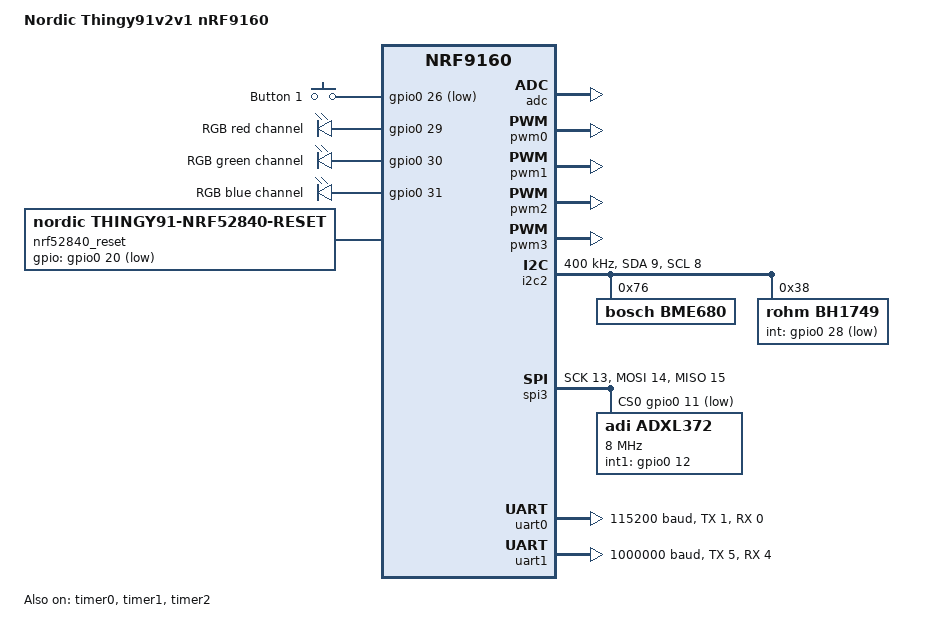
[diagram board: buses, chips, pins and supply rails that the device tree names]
/*
 * Copyright (c) 2019 Nordic Semiconductor ASA
 *
 * SPDX-License-Identifier: LicenseRef-Nordic-5-Clause
 */

/ {
	model = "Nordic Thingy91v2v1 nRF9160";
	compatible = "nordic,thingy91v2v1-nrf9160";

	chosen {
		zephyr,console = &uart0;
		zephyr,shell-uart = &uart0;
		zephyr,uart-mcumgr = &uart0;
	};

	buttons {
		compatible = "gpio-keys";

		button0: button_0 {
			gpios = <&gpio0 26 (GPIO_PULL_UP | GPIO_ACTIVE_LOW)>;
			label = "Button 1";
		};
	};

	leds {
		compatible = "gpio-leds";
		red_led: led_1 {
			gpios = <&gpio0 29 0>;
			label = "RGB red channel";
		};
		green_led: led_2 {
			gpios = <&gpio0 30 0>;
			label = "RGB green channel";
		};
		blue_led: led_3 {
			gpios = <&gpio0 31 0>;
			label = "RGB blue channel";
		};

	};

	nrf52840_reset: gpio-reset {
		compatible = "nordic,thingy91-nrf52840-reset";
		status = "okay";
		gpios = <&gpio0 20 GPIO_ACTIVE_LOW>;
	};

	aliases {
		sw0 = &button0;
		led0 = &red_led;
		led1 = &green_led;
		led2 = &blue_led;
		rgb-pwm = &pwm0;
		buzzer-pwm = &pwm1;
	};
};

&adc {
	status = "okay";
};

&gpiote {
	status = "okay";
};

&gpio0 {
	status = "okay";
};

/* PWM0 is intended for RGB LED control */
&pwm0 {
	status = "okay";
	ch0-pin = <29>;
	ch1-pin = <30>;
	ch2-pin = <31>;
};

/* PWM1 is intended for buzzer control */
&pwm1 {
	status = "okay";
	ch0-pin = <27>;
};

/* PWM2 is intended for NMOS transistor control */
&pwm2 {
	status = "okay";
};

&pwm3 {
	status = "okay";
};

&i2c2 {
	compatible = "nordic,nrf-twim";
	status = "okay";
	sda-pin = <9>;
	scl-pin = <8>;
	clock-frequency = <I2C_BITRATE_FAST>;

	bme680@76 {
		compatible = "bosch,bme680";
		label = "BME680";
		reg = <0x76>;
	};

	bh1749@38 {
		compatible = "rohm,bh1749";
		label = "BH1749";
		reg = <0x38>;
		int-gpios = <&gpio0 28 (GPIO_PULL_UP | GPIO_ACTIVE_LOW)>;
	};
};

&spi3 {
	compatible = "nordic,nrf-spim";
	status = "okay";
	sck-pin = <13>;
	mosi-pin = <14>;
	miso-pin = <15>;
	cs-gpios = <&gpio0 11 GPIO_ACTIVE_LOW>;

	adxl372@0 {
		compatible = "adi,adxl372";
		label = "ADXL372";
		spi-max-frequency = <8000000>;
		reg = <0>;
		int1-gpios = <&gpio0 12 0>;
	};
};

&timer0 {
	status = "okay";
};

&timer1 {
	status = "okay";
};

&timer2 {
	status = "okay";
};

&uart0 {
	compatible = "nordic,nrf-uarte";
	current-speed = <115200>;
	status = "okay";
	tx-pin = <1>;
	rx-pin = <0>;
	rts-pin = <2>;
	cts-pin = <3>;
};

&uart1 {
	current-speed = <1000000>;
	status = "okay";
	tx-pin = <5>;
	rx-pin = <4>;
	rts-pin = <6>;
	cts-pin = <7>;
};

&flash0 {
	/*
	 * For more information, see:
	 * http://docs.zephyrproject.org/devices/dts/flash_partitions.html
	 */
	partitions {
		compatible = "fixed-partitions";
		#address-cells = <1>;
		#size-cells = <1>;

		boot_partition: partition@0 {
			label = "mcuboot";
			reg = <0x00000000 0x10000>;
		};
		slot0_partition: partition@10000 {
			label = "image-0";
		};
		slot0_ns_partition: partition@40000 {
			label = "image-0-nonsecure";
		};
		slot1_partition: partition@80000 {
			label = "image-1";
		};
		slot1_ns_partition: partition@b0000 {
			label = "image-1-nonsecure";
		};
		scratch_partition: partition@f0000 {
			label = "image-scratch";
			reg = <0x000f0000 0xa000>;
		};
		storage_partition: partition@fa000 {
			label = "storage";
			reg = <0x000fa000 0x00006000>;
		};
	};
};

/ {

	reserved-memory {
		#address-cells = <1>;
		#size-cells = <1>;
		ranges;

		sram0_s: image_s@20000000 {
			/* Secure image memory */
		};

		sram0_bsd: image_bsd@20010000 {
			/* BSD (shared) memory */
		};

		sram0_ns: image_ns@20020000 {
			/* Non-Secure image memory */
		};
	};
};

/* Include partition configuration file */
#include "thingy91v2v1_nrf9160_partition_conf.dts"
